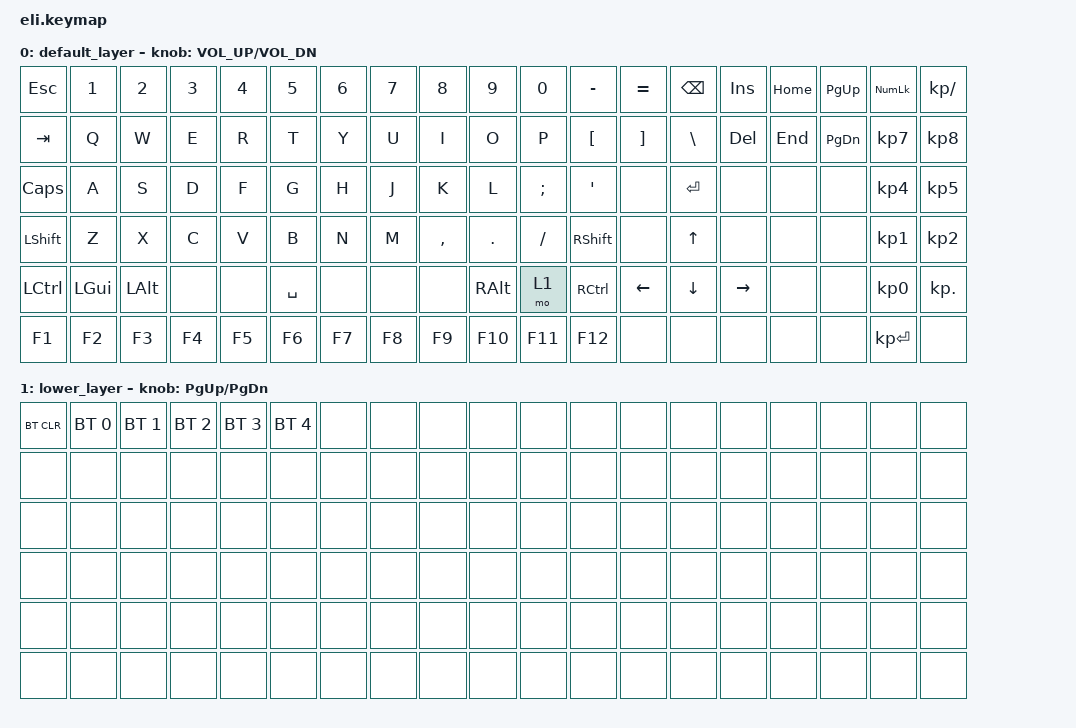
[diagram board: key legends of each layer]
#include <behaviors.dtsi>
#include <dt-bindings/zmk/keys.h>
#include <dt-bindings/zmk/bt.h>

/ {
    keymap {
        compatible = "zmk,keymap";

        default_layer {
            // Cada fila tiene 19 posiciones
            bindings = <
                // Fila 0
                &kp ESC   &kp N1    &kp N2    &kp N3    &kp N4    &kp N5    &kp N6    &kp N7    &kp N8    &kp N9    &kp N0    &kp MINUS &kp EQUAL &kp BSPC  &kp INS   &kp HOME  &kp PG_UP &kp KP_NLCK &kp KP_DIVIDE
                // Fila 1
                &kp TAB   &kp Q     &kp W     &kp E     &kp R     &kp T     &kp Y     &kp U     &kp I     &kp O     &kp P     &kp LBKT  &kp RBKT  &kp BSLH  &kp DEL   &kp END   &kp PG_DN &kp KP_N7   &kp KP_N8
                // Fila 2
                &kp CLCK  &kp A     &kp S     &kp D     &kp F     &kp G     &kp H     &kp J     &kp K     &kp L     &kp SEMI  &kp SQT   &none     &kp ENTER &none     &none     &none     &kp KP_N4   &kp KP_N5
                // Fila 3
                &kp LSHFT &kp Z     &kp X     &kp C     &kp V     &kp B     &kp N     &kp M     &kp COMMA &kp DOT   &kp FSLH  &kp RSHFT &none     &kp UP    &none     &none     &none     &kp KP_N1   &kp KP_N2
                // Fila 4
                &kp LCTRL &kp LGUI  &kp LALT  &none     &none     &kp SPACE &none     &none     &none     &kp RALT  &mo 1     &kp RCTRL &kp LEFT  &kp DOWN  &kp RIGHT &none     &none     &kp KP_N0   &kp KP_DOT
                // Fila 5
                &kp F1    &kp F2    &kp F3    &kp F4    &kp F5    &kp F6    &kp F7    &kp F8    &kp F9    &kp F10   &kp F11   &kp F12   &none     &none     &none     &none     &none     &kp KP_ENTER &none
            >;

            sensor-bindings = <&inc_dec_kp C_VOL_UP C_VOL_DN>;
        };

        lower_layer {
            bindings = <
                &bt BT_CLR &bt BT_SEL 0 &bt BT_SEL 1 &bt BT_SEL 2 &bt BT_SEL 3 &bt BT_SEL 4 &none &none &none &none &none &none &none &none &none &none &none &none &none
                &none      &none        &none        &none        &none        &none        &none &none &none &none &none &none &none &none &none &none &none &none &none
                &none      &none        &none        &none        &none        &none        &none &none &none &none &none &none &none &none &none &none &none &none &none
                &none      &none        &none        &none        &none        &none        &none &none &none &none &none &none &none &none &none &none &none &none &none
                &none      &none        &none        &none        &none        &none        &none &none &none &none &none &none &none &none &none &none &none &none &none
                &none      &none        &none        &none        &none        &none        &none &none &none &none &none &none &none &none &none &none &none &none &none
            >;
            
            sensor-bindings = <&inc_dec_kp PG_UP PG_DN>;
        };
    };
};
